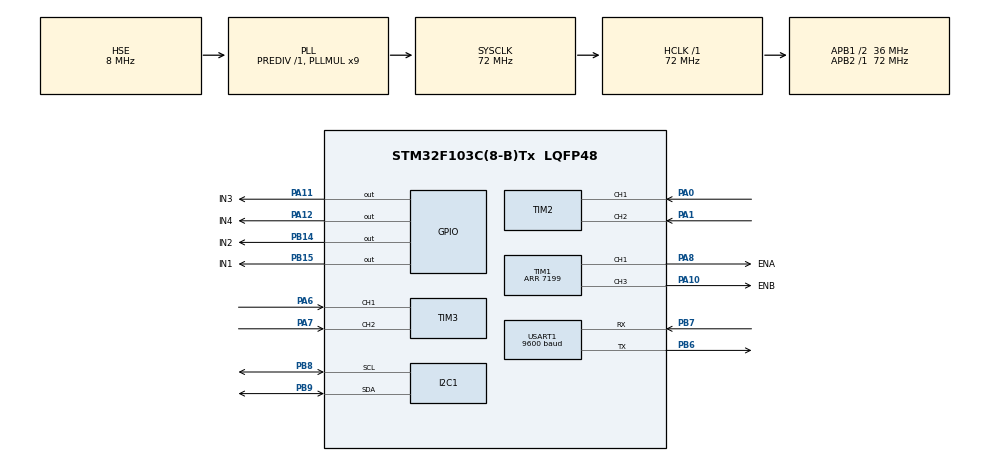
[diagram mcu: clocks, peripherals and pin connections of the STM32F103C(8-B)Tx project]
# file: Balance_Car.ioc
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Mcu.Family=STM32F1
Mcu.Name=STM32F103C(8-B)Tx
Mcu.Package=LQFP48
NVIC.PriorityGroup=NVIC_PRIORITYGROUP_4
NVIC.TIM2_IRQn=true\:0\:0\:false\:false\:true\:true\:true
NVIC.TIM3_IRQn=true\:0\:0\:false\:false\:true\:true\:true
NVIC.USART1_IRQn=true\:0\:0\:false\:false\:true\:true\:true
PA0-WKUP.Signal=S_TIM2_CH1_ETR
PA1.Signal=S_TIM2_CH2
PA10.GPIO_Label=ENB
PA10.Signal=S_TIM1_CH3
PA11.GPIO_Label=IN3
PA11.Signal=GPIO_Output
PA12.GPIO_Label=IN4
PA12.Signal=GPIO_Output
PA13.Mode=Serial_Wire
PA13.Signal=SYS_JTMS-SWDIO
PA14.Mode=Serial_Wire
PA14.Signal=SYS_JTCK-SWCLK
PA6.Signal=S_TIM3_CH1
PA7.Signal=S_TIM3_CH2
PA8.GPIO_Label=ENA
PA8.Signal=S_TIM1_CH1
PB14.GPIO_Label=IN2
PB14.Signal=GPIO_Output
PB15.GPIO_Label=IN1
PB15.Signal=GPIO_Output
PB6.Mode=Asynchronous
PB6.Signal=USART1_TX
PB7.Mode=Asynchronous
PB7.Signal=USART1_RX
PB8.Mode=I2C
PB8.Signal=I2C1_SCL
PB9.Mode=I2C
PB9.Signal=I2C1_SDA
PD0-OSC_IN.Mode=HSE-External-Oscillator
PD0-OSC_IN.Signal=RCC_OSC_IN
PD1-OSC_OUT.Mode=HSE-External-Oscillator
PD1-OSC_OUT.Signal=RCC_OSC_OUT
ProjectManager.HeapSize=0x200
ProjectManager.StackSize=0x400
ProjectManager.TargetToolchain=STM32CubeIDE
RCC.AHBFreq_Value=72000000
RCC.APB1CLKDivider=RCC_HCLK_DIV2
RCC.APB1Freq_Value=36000000
RCC.APB1TimFreq_Value=72000000
RCC.APB2Freq_Value=72000000
RCC.APB2TimFreq_Value=72000000
RCC.HCLKFreq_Value=72000000
RCC.PLLMUL=RCC_PLL_MUL9
RCC.PLLSourceVirtual=RCC_PLLSOURCE_HSE
RCC.SYSCLKFreq_VALUE=72000000
RCC.SYSCLKSource=RCC_SYSCLKSOURCE_PLLCLK
RCC.USBFreq_Value=72000000
SH.S_TIM1_CH1.0=TIM1_CH1,PWM Generation1 CH1
SH.S_TIM1_CH3.0=TIM1_CH3,PWM Generation3 CH3
SH.S_TIM2_CH1_ETR.0=TIM2_CH1,Encoder_Interface
SH.S_TIM2_CH2.0=TIM2_CH2,Encoder_Interface
SH.S_TIM3_CH1.0=TIM3_CH1,Encoder_Interface
SH.S_TIM3_CH2.0=TIM3_CH2,Encoder_Interface
TIM1.Channel-PWM\ Generation1\ CH1=TIM_CHANNEL_1
TIM1.Channel-PWM\ Generation3\ CH3=TIM_CHANNEL_3
TIM1.Period=7199
TIM2.AutoReloadPreload=TIM_AUTORELOAD_PRELOAD_ENABLE
TIM2.EncoderMode=TIM_ENCODERMODE_TI12
TIM2.IC1Filter=0
TIM3.AutoReloadPreload=TIM_AUTORELOAD_PRELOAD_ENABLE
TIM3.EncoderMode=TIM_ENCODERMODE_TI12
TIM3.IC1Filter=0
USART1.BaudRate=9600
USART1.VirtualMode=VM_ASYNC
VP_TIM1_VS_ClockSourceINT.Mode=Internal
board=custom

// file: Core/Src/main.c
/* USER CODE BEGIN Header */
/**
  ******************************************************************************
  * @file           : main.c
  * @brief          : Main program body
  ******************************************************************************
  * @attention
  *
  * <h2><center>&copy; Copyright (c) 2020 STMicroelectronics.
  * All rights reserved.</center></h2>
  *
  * This software component is licensed by ST under BSD 3-Clause license,
  * the "License"; You may not use this file except in compliance with the
  * License. You may obtain a copy of the License at:
  *                        opensource.org/licenses/BSD-3-Clause
  *
  ******************************************************************************
  */
/* USER CODE END Header */
#include "main.h"

/* USER CODE BEGIN Includes */
#include "stdio.h"
#include "i2c-lcd.h"
#include "MotorControl.h"
/* USER CODE END Includes */

/* USER CODE BEGIN PD */
#define	MPU6050_ADDR		0xD0
#define SMPLRT_CONFIG_REG	0x19
#define GYRO_CONFIG_REG		0x1B
#define ACCEL_CONFIG_REG	0x1C
#define ACCEL_XOUT_H_REG	0x3B
#define TEMP_OUT_H_REG		0x41
#define	GYRO_XOUT_H_REG		0x43
#define	PWR_MGMT_1_REG		0x6B
#define	WHO_AM_I			0x75
/* USER CODE END PD */

I2C_HandleTypeDef hi2c1;

TIM_HandleTypeDef htim1;
TIM_HandleTypeDef htim2;
TIM_HandleTypeDef htim3;

UART_HandleTypeDef huart1;

/* USER CODE BEGIN PV */
uint16_t Accel_X_RAW;
uint16_t Accel_Y_RAW;
uint16_t Accel_Z_RAW;
float 	 Ax, Ay, Az;
uint16_t Gyro_X_RAW;
uint16_t Gyro_Y_RAW;
uint16_t Gyro_Z_RAW;
float 	 Gx, Gy, Gz;

char buf[4];
char Rx_data[2];

int16_t MotorA_Duty = 7200;
int16_t MotorB_Duty = 7200;
/* USER CODE END PV */

void SystemClock_Config(void);
static void MX_GPIO_Init(void);
static void MX_I2C1_Init(void);
static void MX_TIM1_Init(void);
static void MX_USART1_UART_Init(void);
static void MX_TIM2_Init(void);
static void MX_TIM3_Init(void);
/* USER CODE BEGIN PFP */
void checkI2CAddress(void);
void MPU6050_Init(void);
void MPU6050_Read_Accel(void);
void MPU6050_Read_Gyro(void);
/* USER CODE END PFP */

/* USER CODE BEGIN 0 */
PUTCHAR_PROTOTYPE
{
  HAL_UART_Transmit(&huart1, (uint8_t *)&ch, 1, 0xFFFF);

  return ch;
}
void checkI2CAddress(void)
{
	int devices = 0;
	printf("Searching for I2C devices on the bus...\n");

	for (uint8_t i = 0x03u; i < 0x78u; i++) {
		uint8_t address = i << 1u ;

		if (HAL_OK == HAL_I2C_IsDeviceReady(&hi2c1, address, 3u, 10u))
		{
		  printf("Device found: 0x%02X\n", address);
		  devices++;
		}
	}

	if (0u == devices)
		printf("No device found.\n");
	else
		printf("Total found devices: %d\n", devices);

	HAL_Delay(2000u);
}
void printAccelValues(void)
{
		  printf("%.2f  ", Ax);
		  printf("%.2f  ", Ay);
		  printf("%.2f\n", Az);
}
void printGyroValues(void)
{
		  printf("%.2f  ", Gx);
		  printf("%.2f  ", Gy);
		  printf("%.2f\n", Gz);
}
/* USER CODE END 0 */

int main(void)
{

  /* MCU Configuration--------------------------------------------------------*/

  /* Reset of all peripherals, Initializes the Flash interface and the Systick. */
  HAL_Init();

  /* Configure the system clock */
  SystemClock_Config();

  /* Initialize all configured peripherals */
  MX_GPIO_Init();
  MX_I2C1_Init();
  MX_TIM1_Init();
  MX_USART1_UART_Init();
  MX_TIM2_Init();
  MX_TIM3_Init();
  /* USER CODE BEGIN 2 */
	  lcd_init();
	  MPU6050_Init();

	  lcd_send_string("initialized");
	  HAL_Delay(3000);
	  lcd_clear_display();
  initMotor();
  HAL_TIM_Encoder_Start_IT(&htim2, TIM_CHANNEL_ALL);
  HAL_TIM_Encoder_Start_IT(&htim3, TIM_CHANNEL_ALL);

  MPU6050_Read_Accel();
  MPU6050_Read_Gyro();
  turnMotor_R(MotorA_Duty*0.7);
  turnMotor_L(MotorB_Duty*0.7);
//  for(int i = 0; i < 7200; i++)
//  {
//	  turnMotor_L(i);
//	  turnMotor_R(i);
//	  HAL_Delay(100);
//  }
  /* USER CODE END 2 */

  /* Infinite loop */
  /* USER CODE BEGIN WHILE */
  while (1)
  {
//	  checkI2CAddress();
    /* USER CODE END WHILE */

    /* USER CODE BEGIN 3 */
//	  printAccelValues();
//	  printGyroValues();
	  printf("Encoder value left: %d\n", Encoder_Value_A);
	  printf("Encoder value Right: %d\n", Encoder_Value_B);
  }
  /* USER CODE END 3 */
}

void SystemClock_Config(void)
{
  RCC_OscInitTypeDef RCC_OscInitStruct = {0};
  RCC_ClkInitTypeDef RCC_ClkInitStruct = {0};

  /** Initializes the RCC Oscillators according to the specified parameters
  * in the RCC_OscInitTypeDef structure.
  */
  RCC_OscInitStruct.OscillatorType = RCC_OSCILLATORTYPE_HSE;
  RCC_OscInitStruct.HSEState = RCC_HSE_ON;
  RCC_OscInitStruct.HSEPredivValue = RCC_HSE_PREDIV_DIV1;
  RCC_OscInitStruct.HSIState = RCC_HSI_ON;
  RCC_OscInitStruct.PLL.PLLState = RCC_PLL_ON;
  RCC_OscInitStruct.PLL.PLLSource = RCC_PLLSOURCE_HSE;
  RCC_OscInitStruct.PLL.PLLMUL = RCC_PLL_MUL9;
  if (HAL_RCC_OscConfig(&RCC_OscInitStruct) != HAL_OK)
  {
    Error_Handler();
  }
  /** Initializes the CPU, AHB and APB buses clocks
  */
  RCC_ClkInitStruct.ClockType = RCC_CLOCKTYPE_HCLK|RCC_CLOCKTYPE_SYSCLK
                              |RCC_CLOCKTYPE_PCLK1|RCC_CLOCKTYPE_PCLK2;
  RCC_ClkInitStruct.SYSCLKSource = RCC_SYSCLKSOURCE_PLLCLK;
  RCC_ClkInitStruct.AHBCLKDivider = RCC_SYSCLK_DIV1;
  RCC_ClkInitStruct.APB1CLKDivider = RCC_HCLK_DIV2;
  RCC_ClkInitStruct.APB2CLKDivider = RCC_HCLK_DIV1;

  if (HAL_RCC_ClockConfig(&RCC_ClkInitStruct, FLASH_LATENCY_2) != HAL_OK)
  {
    Error_Handler();
  }
}

static void MX_I2C1_Init(void)
{

  hi2c1.Instance = I2C1;
  hi2c1.Init.ClockSpeed = 100000;
  hi2c1.Init.DutyCycle = I2C_DUTYCYCLE_2;
  hi2c1.Init.OwnAddress1 = 0;
  hi2c1.Init.AddressingMode = I2C_ADDRESSINGMODE_7BIT;
  hi2c1.Init.DualAddressMode = I2C_DUALADDRESS_DISABLE;
  hi2c1.Init.OwnAddress2 = 0;
  hi2c1.Init.GeneralCallMode = I2C_GENERALCALL_DISABLE;
  hi2c1.Init.NoStretchMode = I2C_NOSTRETCH_DISABLE;
  if (HAL_I2C_Init(&hi2c1) != HAL_OK)
  {
    Error_Handler();
  }

}

static void MX_TIM1_Init(void)
{

  TIM_ClockConfigTypeDef sClockSourceConfig = {0};
  TIM_MasterConfigTypeDef sMasterConfig = {0};
  TIM_OC_InitTypeDef sConfigOC = {0};
  TIM_BreakDeadTimeConfigTypeDef sBreakDeadTimeConfig = {0};

  htim1.Instance = TIM1;
  htim1.Init.Prescaler = 0;
  htim1.Init.CounterMode = TIM_COUNTERMODE_UP;
  htim1.Init.Period = 7199;
  htim1.Init.ClockDivision = TIM_CLOCKDIVISION_DIV1;
  htim1.Init.RepetitionCounter = 0;
  htim1.Init.AutoReloadPreload = TIM_AUTORELOAD_PRELOAD_DISABLE;
  if (HAL_TIM_Base_Init(&htim1) != HAL_OK)
  {
    Error_Handler();
  }
  sClockSourceConfig.ClockSource = TIM_CLOCKSOURCE_INTERNAL;
  if (HAL_TIM_ConfigClockSource(&htim1, &sClockSourceConfig) != HAL_OK)
  {
    Error_Handler();
  }
  if (HAL_TIM_PWM_Init(&htim1) != HAL_OK)
  {
    Error_Handler();
  }
  sMasterConfig.MasterOutputTrigger = TIM_TRGO_RESET;
  sMasterConfig.MasterSlaveMode = TIM_MASTERSLAVEMODE_DISABLE;
  if (HAL_TIMEx_MasterConfigSynchronization(&htim1, &sMasterConfig) != HAL_OK)
  {
    Error_Handler();
  }
  sConfigOC.OCMode = TIM_OCMODE_PWM1;
  sConfigOC.Pulse = 0;
  sConfigOC.OCPolarity = TIM_OCPOLARITY_HIGH;
  sConfigOC.OCNPolarity = TIM_OCNPOLARITY_HIGH;
  sConfigOC.OCFastMode = TIM_OCFAST_DISABLE;
  sConfigOC.OCIdleState = TIM_OCIDLESTATE_RESET;
  sConfigOC.OCNIdleState = TIM_OCNIDLESTATE_RESET;
  if (HAL_TIM_PWM_ConfigChannel(&htim1, &sConfigOC, TIM_CHANNEL_1) != HAL_OK)
  {
    Error_Handler();
  }
  if (HAL_TIM_PWM_ConfigChannel(&htim1, &sConfigOC, TIM_CHANNEL_3) != HAL_OK)
  {
    Error_Handler();
  }
  sBreakDeadTimeConfig.OffStateRunMode = TIM_OSSR_DISABLE;
  sBreakDeadTimeConfig.OffStateIDLEMode = TIM_OSSI_DISABLE;
  sBreakDeadTimeConfig.LockLevel = TIM_LOCKLEVEL_OFF;
  sBreakDeadTimeConfig.DeadTime = 0;
  sBreakDeadTimeConfig.BreakState = TIM_BREAK_DISABLE;
  sBreakDeadTimeConfig.BreakPolarity = TIM_BREAKPOLARITY_HIGH;
  sBreakDeadTimeConfig.AutomaticOutput = TIM_AUTOMATICOUTPUT_DISABLE;
  if (HAL_TIMEx_ConfigBreakDeadTime(&htim1, &sBreakDeadTimeConfig) != HAL_OK)
  {
    Error_Handler();
  }
  HAL_TIM_MspPostInit(&htim1);

}

static void MX_TIM2_Init(void)
{

  TIM_Encoder_InitTypeDef sConfig = {0};
  TIM_MasterConfigTypeDef sMasterConfig = {0};

  htim2.Instance = TIM2;
  htim2.Init.Prescaler = 0;
  htim2.Init.CounterMode = TIM_COUNTERMODE_UP;
  htim2.Init.Period = 65535;
  htim2.Init.ClockDivision = TIM_CLOCKDIVISION_DIV1;
  htim2.Init.AutoReloadPreload = TIM_AUTORELOAD_PRELOAD_ENABLE;
  sConfig.EncoderMode = TIM_ENCODERMODE_TI12;
  sConfig.IC1Polarity = TIM_ICPOLARITY_RISING;
  sConfig.IC1Selection = TIM_ICSELECTION_DIRECTTI;
  sConfig.IC1Prescaler = TIM_ICPSC_DIV1;
  sConfig.IC1Filter = 0;
  sConfig.IC2Polarity = TIM_ICPOLARITY_RISING;
  sConfig.IC2Selection = TIM_ICSELECTION_DIRECTTI;
  sConfig.IC2Prescaler = TIM_ICPSC_DIV1;
  sConfig.IC2Filter = 0;
  if (HAL_TIM_Encoder_Init(&htim2, &sConfig) != HAL_OK)
  {
    Error_Handler();
  }
  sMasterConfig.MasterOutputTrigger = TIM_TRGO_RESET;
  sMasterConfig.MasterSlaveMode = TIM_MASTERSLAVEMODE_DISABLE;
  if (HAL_TIMEx_MasterConfigSynchronization(&htim2, &sMasterConfig) != HAL_OK)
  {
    Error_Handler();
  }

}

static void MX_TIM3_Init(void)
{

  TIM_Encoder_InitTypeDef sConfig = {0};
  TIM_MasterConfigTypeDef sMasterConfig = {0};

  htim3.Instance = TIM3;
  htim3.Init.Prescaler = 0;
  htim3.Init.CounterMode = TIM_COUNTERMODE_UP;
  htim3.Init.Period = 65535;
  htim3.Init.ClockDivision = TIM_CLOCKDIVISION_DIV1;
  htim3.Init.AutoReloadPreload = TIM_AUTORELOAD_PRELOAD_ENABLE;
  sConfig.EncoderMode = TIM_ENCODERMODE_TI12;
  sConfig.IC1Polarity = TIM_ICPOLARITY_RISING;
  sConfig.IC1Selection = TIM_ICSELECTION_DIRECTTI;
  sConfig.IC1Prescaler = TIM_ICPSC_DIV1;
  sConfig.IC1Filter = 0;
  sConfig.IC2Polarity = TIM_ICPOLARITY_RISING;
  sConfig.IC2Selection = TIM_ICSELECTION_DIRECTTI;
  sConfig.IC2Prescaler = TIM_ICPSC_DIV1;
  sConfig.IC2Filter = 0;
  if (HAL_TIM_Encoder_Init(&htim3, &sConfig) != HAL_OK)
  {
    Error_Handler();
  }
  sMasterConfig.MasterOutputTrigger = TIM_TRGO_RESET;
  sMasterConfig.MasterSlaveMode = TIM_MASTERSLAVEMODE_DISABLE;
  if (HAL_TIMEx_MasterConfigSynchronization(&htim3, &sMasterConfig) != HAL_OK)
  {
    Error_Handler();
  }

}

static void MX_USART1_UART_Init(void)
{

  huart1.Instance = USART1;
  huart1.Init.BaudRate = 9600;
  huart1.Init.WordLength = UART_WORDLENGTH_8B;
  huart1.Init.StopBits = UART_STOPBITS_1;
  huart1.Init.Parity = UART_PARITY_NONE;
  huart1.Init.Mode = UART_MODE_TX_RX;
  huart1.Init.HwFlowCtl = UART_HWCONTROL_NONE;
  huart1.Init.OverSampling = UART_OVERSAMPLING_16;
  if (HAL_UART_Init(&huart1) != HAL_OK)
  {
    Error_Handler();
  }

}

static void MX_GPIO_Init(void)
{
  GPIO_InitTypeDef GPIO_InitStruct = {0};

  /* GPIO Ports Clock Enable */
  __HAL_RCC_GPIOD_CLK_ENABLE();
  __HAL_RCC_GPIOA_CLK_ENABLE();
  __HAL_RCC_GPIOB_CLK_ENABLE();

  /*Configure GPIO pin Output Level */
  HAL_GPIO_WritePin(GPIOB, IN2_Pin|IN1_Pin, GPIO_PIN_RESET);

  /*Configure GPIO pin Output Level */
  HAL_GPIO_WritePin(GPIOA, IN3_Pin|IN4_Pin, GPIO_PIN_RESET);

  /*Configure GPIO pins : IN2_Pin IN1_Pin */
  GPIO_InitStruct.Pin = IN2_Pin|IN1_Pin;
  GPIO_InitStruct.Mode = GPIO_MODE_OUTPUT_PP;
  GPIO_InitStruct.Pull = GPIO_NOPULL;
  GPIO_InitStruct.Speed = GPIO_SPEED_FREQ_LOW;
  HAL_GPIO_Init(GPIOB, &GPIO_InitStruct);

  /*Configure GPIO pins : IN3_Pin IN4_Pin */
  GPIO_InitStruct.Pin = IN3_Pin|IN4_Pin;
  GPIO_InitStruct.Mode = GPIO_MODE_OUTPUT_PP;
  GPIO_InitStruct.Pull = GPIO_NOPULL;
  GPIO_InitStruct.Speed = GPIO_SPEED_FREQ_LOW;
  HAL_GPIO_Init(GPIOA, &GPIO_InitStruct);

}

/* USER CODE BEGIN 4 */
void MPU6050_Init(void)
{
	uint8_t check, Data;
	HAL_I2C_Mem_Read(&hi2c1, MPU6050_ADDR, WHO_AM_I, 1, &check, 1, 1000);
	if (check == 104)
	{
		Data = 0;
		HAL_I2C_Mem_Write(&hi2c1, MPU6050_ADDR, PWR_MGMT_1_REG, 1, &Data, 1, 1000);
		Data = 0x07;
		HAL_I2C_Mem_Write(&hi2c1, MPU6050_ADDR, SMPLRT_CONFIG_REG, 1, &Data, 1, 1000);
		Data = 0x00;
		HAL_I2C_Mem_Write(&hi2c1, MPU6050_ADDR, GYRO_CONFIG_REG, 1, &Data, 1, 1000);
		Data = 0x00;
		HAL_I2C_Mem_Write(&hi2c1, MPU6050_ADDR, ACCEL_CONFIG_REG, 1, &Data, 1, 1000);
	}
}

void MPU6050_Read_Accel(void)
{
	uint8_t Rec_Data[6];
	HAL_I2C_Mem_Read(&hi2c1, MPU6050_ADDR, ACCEL_XOUT_H_REG, 1, Rec_Data, 6, 1000);

	Accel_X_RAW = (uint16_t)(Rec_Data[0] << 8) | Rec_Data[1];
	Accel_Y_RAW = (uint16_t)(Rec_Data[2] << 8) | Rec_Data[3];
	Accel_Z_RAW = (uint16_t)(Rec_Data[4] << 8) | Rec_Data[5];

	// Convert the RAW
	Ax = Accel_X_RAW/16384.0;
	Ay = Accel_Y_RAW/16384.0;
	Az = Accel_Z_RAW/16384.0;
}

void MPU6050_Read_Gyro(void)
{
	uint8_t Rec_Data[6];
	HAL_I2C_Mem_Read(&hi2c1, MPU6050_ADDR, GYRO_XOUT_H_REG, 1, Rec_Data, 6, 1000);

	Gyro_X_RAW = (uint16_t)(Rec_Data[0] << 8) | Rec_Data[1];
	Gyro_Y_RAW = (uint16_t)(Rec_Data[2] << 8) | Rec_Data[3];
	Gyro_Z_RAW = (uint16_t)(Rec_Data[4] << 8) | Rec_Data[5];

	// Convert the RAW
	Gx = Gyro_X_RAW/131.0;
	Gy = Gyro_Y_RAW/131.0;
	Gz = Gyro_Z_RAW/131.0;
}
/* USER CODE END 4 */

void Error_Handler(void)
{
}

/************************ (C) COPYRIGHT STMicroelectronics *****END OF FILE****/
